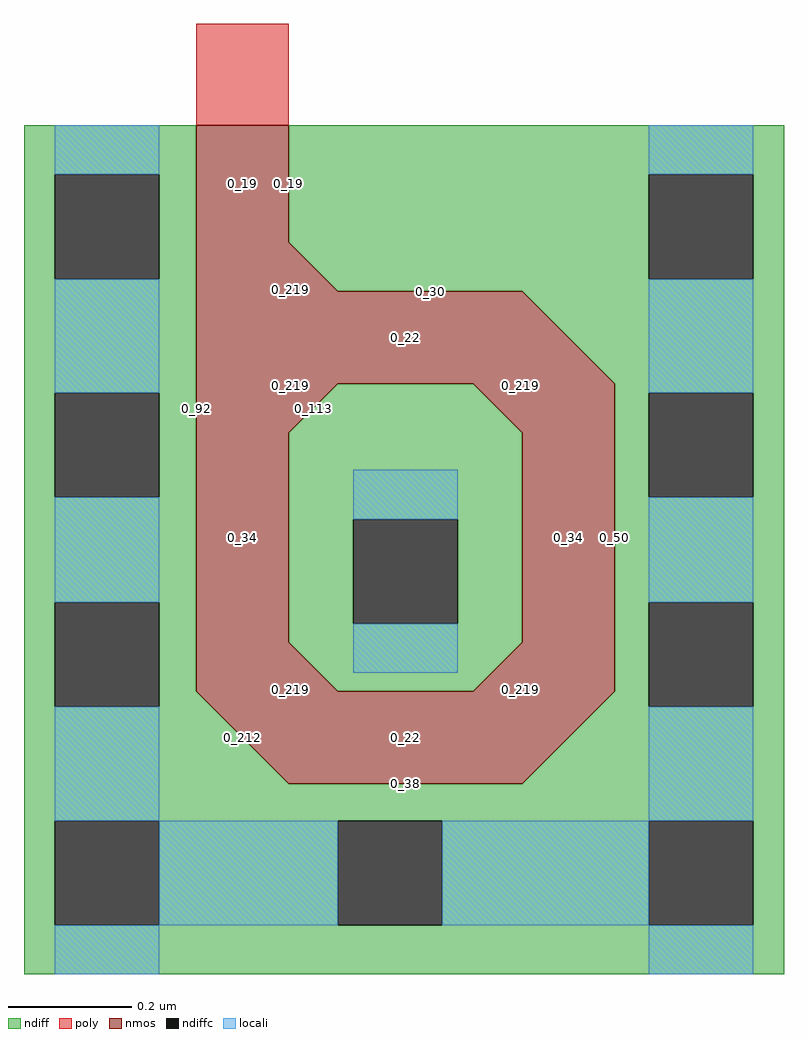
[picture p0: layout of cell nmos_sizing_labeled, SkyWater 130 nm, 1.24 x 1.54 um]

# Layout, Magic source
magic
tech sky130A
magscale 1 2
<< nmos >>
rect 55 222 85 276
tri 85 222 101 238 sw
rect 55 192 161 222
tri 161 192 191 222 sw
rect 55 92 85 192
tri 85 176 101 192 nw
tri 145 176 161 192 ne
tri 85 92 101 108 sw
tri 145 92 161 108 se
rect 161 92 191 192
tri 55 62 85 92 ne
rect 85 62 161 92
tri 161 62 191 92 nw
<< ndiff >>
rect -1 260 55 276
rect -1 226 9 260
rect 43 226 55 260
rect -1 189 55 226
rect 85 260 246 276
rect 85 238 202 260
tri 85 222 101 238 ne
rect 101 226 202 238
rect 236 226 246 260
rect 101 222 246 226
tri 161 192 191 222 ne
rect -1 155 9 189
rect 43 155 55 189
rect -1 121 55 155
rect -1 87 9 121
rect 43 87 55 121
tri 85 176 101 192 se
rect 101 176 145 192
tri 145 176 161 192 sw
rect 85 148 161 176
rect 85 114 106 148
rect 140 114 161 148
rect 85 108 161 114
tri 85 92 101 108 ne
rect 101 92 145 108
tri 145 92 161 108 nw
rect 191 189 246 222
rect 191 155 202 189
rect 236 155 246 189
rect 191 121 246 155
rect -1 62 55 87
tri 55 62 85 92 sw
tri 161 62 191 92 se
rect 191 87 202 121
rect 236 87 246 121
rect 191 62 246 87
rect -1 50 246 62
rect -1 16 9 50
rect 43 16 101 50
rect 135 16 202 50
rect 236 16 246 50
rect -1 0 246 16
<< ndiffc >>
rect 9 226 43 260
rect 202 226 236 260
rect 9 155 43 189
rect 9 87 43 121
rect 106 114 140 148
rect 202 155 236 189
rect 202 87 236 121
rect 9 16 43 50
rect 101 16 135 50
rect 202 16 236 50
<< poly >>
rect 55 276 85 309
<< locali >>
rect 9 260 43 276
rect 9 189 43 226
rect 202 260 236 276
rect 202 189 236 226
rect 9 121 43 155
rect 106 148 140 164
rect 106 98 140 114
rect 202 121 236 155
rect 9 50 43 87
rect 202 50 236 87
rect 43 16 101 50
rect 135 16 202 50
rect 9 0 43 16
rect 202 0 236 16
<< labels >>
rlabel nmos 101 77 145 77 1 0_22
rlabel nmos 101 207 145 207 1 0_22
rlabel nmos 70 108 70 176 1 0_34
rlabel nmos 176 108 176 176 1 0_34
rlabel space 145 176 176 207 1 0_219
rlabel space 70 77 101 108 1 0_219
rlabel space 145 77 176 108 1 0_219
rlabel nmos 70 238 70 276 1 0_19
rlabel ndiff 191 92 191 192 1 0_50
rlabel ndiff 85 62 161 62 1 0_38
rlabel ndiff 55 92 55 276 1 0_92
rlabel ndiff 85 238 85 276 1 0_19
rlabel ndiff 101 222 161 222 1 0_30
rlabel space 85 176 101 192 1 0_113
rlabel space 70 176 101 207 1 0_219
rlabel space 55 62 85 92 1 0_212
rlabel space 70 207 101 238 1 0_219
<< end >>
